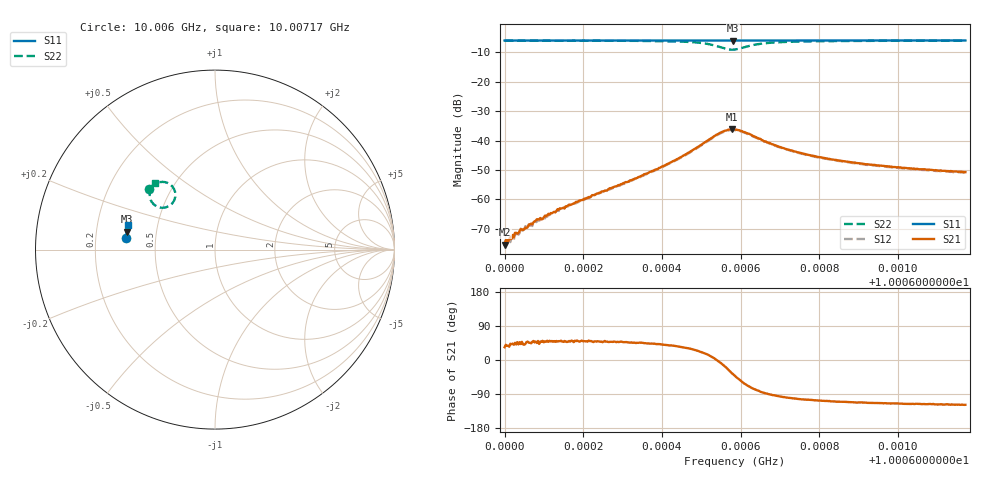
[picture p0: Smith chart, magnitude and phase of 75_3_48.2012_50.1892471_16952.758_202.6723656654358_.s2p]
#  HZ  S  RI  R  50.00
! Rohde & Schwarz Vector Network Analyzer
! Rohde-Schwarz,ZNB20-2Port,1311601062101988,3.16
! Created: UTC 3/20/2024, 11:39:21 AM
! freq[Hz]  re:S11  im:S11  re:S21  im:S21  re:S12  im:S12  re:S22  im:S22
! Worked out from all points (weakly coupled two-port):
!   401 points, 10.006 GHz to 10.00717 GHz, reference 50 ohm
!   highest |S21| = -36.22 dB at 10.00658 GHz (marker M1); lowest = -75.4 dB at 10.006 GHz (marker M2)
!   lowest |S11| = -6.0 dB at 10.00658 GHz (marker M3), VSWR 3.01, Z = 16.8 + j4.44 ohm
!   |S11| at or under -10 dB: nowhere
!   |S22| runs from -9.1 to -6.0 dB; largest |S21 - S12| = 0.001
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1.0005999e10  -0.4978 0.0623  0.00014 9.42e-05  0.000122 0.000102  -0.3665 0.338
1.0006017e10  -0.4977 0.0634  0.000159 0.000141  0.000162 0.000154  -0.3655 0.339
1.0006025e10  -0.4976 0.064  0.000189 0.000191  0.000177 0.000189  -0.365 0.3396
1.0006058e10  -0.4973 0.0661  0.000221 0.000251  0.000235 0.000296  -0.3629 0.3419
1.0006069e10  -0.4972 0.0669  0.00025 0.000277  0.000224 0.000271  -0.3621 0.3427
1.0006084e10  -0.4972 0.0677  0.000291 0.00035  0.000268 0.00034  -0.3611 0.3438
1.0006146e10  -0.4967 0.072  0.000466 0.000531  0.00045 0.000564  -0.3566 0.3484
1.0006196e10  -0.4964 0.0753  0.000609 0.000755  0.000556 0.00076  -0.3524 0.3523
1.0006392e10  -0.4945 0.0879  0.00254 0.00228  0.00238 0.00232  -0.3224 0.3718
1.0006454e10  -0.4936 0.092  0.0046 0.00305  0.00433 0.00318  -0.2985 0.3773
1.000651e10  -0.4927 0.0956  0.00892 0.00275  0.00854 0.00308  -0.2561 0.367
1.0006551e10  -0.4915 0.098  0.0136 -0.00208  0.0134 -0.00142  -0.2209 0.3125
1.0006577e10  -0.4913 0.0989  0.0128 -0.00871  0.013 -0.00778  -0.241 0.2548
1.000658e10  -0.4912 0.0991  0.0124 -0.00919  0.0127 -0.00827  -0.2465 0.2499
1.0006586e10  -0.4913 0.0994  0.0114 -0.0104  0.0117 -0.00948  -0.2582 0.2419
1.0006609e10  -0.4914 0.1005  0.00652 -0.0123  0.00693 -0.0118  -0.3074 0.2348
1.0006651e10  -0.4916 0.1031  0.00117 -0.0106  0.00166 -0.0102  -0.3529 0.2661
1.0006715e10  -0.4912 0.1075  -0.0011 -0.0071  -0.000691 -0.00703  -0.3643 0.3058
1.0006783e10  -0.4904 0.1119  -0.00147 -0.00531  -0.00124 -0.00528  -0.3613 0.3273
1.0006882e10  -0.4892 0.1184  -0.00155 -0.00397  -0.00131 -0.00398  -0.3541 0.3446
1.0006979e10  -0.4878 0.1246  -0.00149 -0.00329  -0.00129 -0.00328  -0.3472 0.3554
1.0007173e10  -0.4849 0.1368  -0.00137 -0.00255  -0.00123 -0.00257  -0.3354 0.3704
